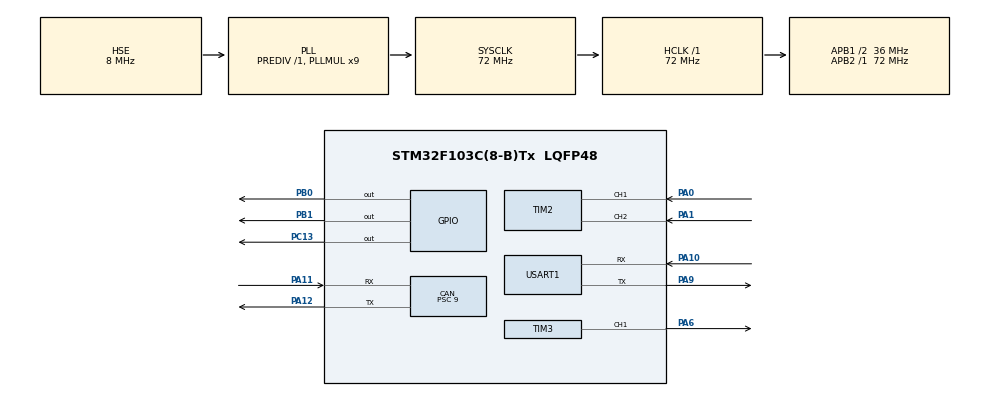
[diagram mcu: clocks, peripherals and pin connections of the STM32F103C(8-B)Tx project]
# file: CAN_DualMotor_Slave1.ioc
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CAN.ABOM=ENABLE
CAN.BS1=CAN_BS1_6TQ
CAN.CalculateBaudRate=500000
CAN.CalculateTimeBit=2000
CAN.CalculateTimeQuantum=250.0
CAN.Mode=CAN_MODE_NORMAL
CAN.NART=ENABLE
CAN.Prescaler=9
Mcu.Family=STM32F1
Mcu.Name=STM32F103C(8-B)Tx
Mcu.Package=LQFP48
NVIC.PriorityGroup=NVIC_PRIORITYGROUP_4
NVIC.TIM4_IRQn=true\:0\:0\:false\:false\:true\:true\:true\:true
NVIC.USART1_IRQn=true\:2\:0\:true\:false\:true\:true\:true\:true
NVIC.USB_LP_CAN1_RX0_IRQn=true\:1\:0\:true\:false\:true\:true\:true\:true
PA0-WKUP.Signal=S_TIM2_CH1_ETR
PA1.Signal=S_TIM2_CH2
PA10.Mode=Asynchronous
PA10.Signal=USART1_RX
PA11.Mode=CAN_Activate
PA11.Signal=CAN_RX
PA12.Mode=CAN_Activate
PA12.Signal=CAN_TX
PA13.Mode=Serial_Wire
PA13.Signal=SYS_JTMS-SWDIO
PA14.Mode=Serial_Wire
PA14.Signal=SYS_JTCK-SWCLK
PA6.Signal=S_TIM3_CH1
PA9.Mode=Asynchronous
PA9.Signal=USART1_TX
PB0.Signal=GPIO_Output
PB1.Signal=GPIO_Output
PC13-TAMPER-RTC.Signal=GPIO_Output
PD0-OSC_IN.Mode=HSE-External-Oscillator
PD0-OSC_IN.Signal=RCC_OSC_IN
PD1-OSC_OUT.Mode=HSE-External-Oscillator
PD1-OSC_OUT.Signal=RCC_OSC_OUT
ProjectManager.HeapSize=0x200
ProjectManager.StackSize=0x400
ProjectManager.TargetToolchain=MDK-ARM V5.32
RCC.AHBFreq_Value=72000000
RCC.APB1CLKDivider=RCC_HCLK_DIV2
RCC.APB1Freq_Value=36000000
RCC.APB1TimFreq_Value=72000000
RCC.APB2Freq_Value=72000000
RCC.APB2TimFreq_Value=72000000
RCC.HCLKFreq_Value=72000000
RCC.PLLMUL=RCC_PLL_MUL9
RCC.PLLSourceVirtual=RCC_PLLSOURCE_HSE
RCC.SYSCLKFreq_VALUE=72000000
RCC.SYSCLKSource=RCC_SYSCLKSOURCE_PLLCLK
RCC.USBFreq_Value=72000000
SH.S_TIM2_CH1_ETR.0=TIM2_CH1,Encoder_Interface
SH.S_TIM2_CH2.0=TIM2_CH2,Encoder_Interface
SH.S_TIM3_CH1.0=TIM3_CH1,PWM Generation1 CH1
TIM2.EncoderMode=TIM_ENCODERMODE_TI12
TIM2.IC1Filter=6
TIM2.IC2Filter=6
TIM3.Channel-PWM\ Generation1\ CH1=TIM_CHANNEL_1
TIM3.Period=3599
TIM4.Period=99
TIM4.Prescaler=7199
USART1.VirtualMode=VM_ASYNC
VP_TIM4_VS_ClockSourceINT.Mode=Internal
board=custom

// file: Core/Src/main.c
/* USER CODE BEGIN Header */
/**
  ******************************************************************************
  * @file           : main.c
  * @brief          : Main program body
  ******************************************************************************
  * @attention
  *
  * Copyright (c) 2026 STMicroelectronics.
  * All rights reserved.
  *
  * This software is licensed under terms that can be found in the LICENSE file
  * in the root directory of this software component.
  * If no LICENSE file comes with this software, it is provided AS-IS.
  *
  ******************************************************************************
  */
/* USER CODE END Header */
#include "main.h"
#include "can.h"
#include "tim.h"
#include "usart.h"
#include "gpio.h"

/* USER CODE BEGIN Includes */
#include "Bsp_Can.h"
#include "can_protocol.h"
#include "App.h"
#include "Encoder.h"
#include "motor_control.h"
/* USER CODE END Includes */

/* USER CODE BEGIN PV */
App_SlaveRuntime_t debug_runtime;

volatile uint8_t debug_tx_ok = 0;
volatile uint32_t debug_can_error = 0;
/* USER CODE END PV */

void SystemClock_Config(void);

int main(void)
{

  /* MCU Configuration--------------------------------------------------------*/

  /* Reset of all peripherals, Initializes the Flash interface and the Systick. */
  HAL_Init();

  /* Configure the system clock */
  SystemClock_Config();

  /* Initialize all configured peripherals */
  MX_GPIO_Init();
  MX_CAN_Init();
  MX_TIM2_Init();
  MX_TIM3_Init();
  MX_TIM4_Init();
  MX_USART1_UART_Init();
  /* USER CODE BEGIN 2 */
	Can_Init();

	App_Init();
//	HAL_TIM_Base_Start_IT(&htim4);
  /* USER CODE END 2 */

  /* Infinite loop */
  while (1)
  {

    /* USER CODE BEGIN 3 */
		 App_Task();
		App_GetRuntime(&debug_runtime);
//	uint8_t test_data = 0x01;

//    debug_tx_ok = Can_Send(0x301, &test_data, 1);
//    debug_can_error = HAL_CAN_GetError(&hcan);

//    HAL_Delay(500);
	}
  /* USER CODE END 3 */
}

void SystemClock_Config(void)
{
  RCC_OscInitTypeDef RCC_OscInitStruct = {0};
  RCC_ClkInitTypeDef RCC_ClkInitStruct = {0};

  /** Initializes the RCC Oscillators according to the specified parameters
  * in the RCC_OscInitTypeDef structure.
  */
  RCC_OscInitStruct.OscillatorType = RCC_OSCILLATORTYPE_HSE;
  RCC_OscInitStruct.HSEState = RCC_HSE_ON;
  RCC_OscInitStruct.HSEPredivValue = RCC_HSE_PREDIV_DIV1;
  RCC_OscInitStruct.HSIState = RCC_HSI_ON;
  RCC_OscInitStruct.PLL.PLLState = RCC_PLL_ON;
  RCC_OscInitStruct.PLL.PLLSource = RCC_PLLSOURCE_HSE;
  RCC_OscInitStruct.PLL.PLLMUL = RCC_PLL_MUL9;
  if (HAL_RCC_OscConfig(&RCC_OscInitStruct) != HAL_OK)
  {
    Error_Handler();
  }

  /** Initializes the CPU, AHB and APB buses clocks
  */
  RCC_ClkInitStruct.ClockType = RCC_CLOCKTYPE_HCLK|RCC_CLOCKTYPE_SYSCLK
                              |RCC_CLOCKTYPE_PCLK1|RCC_CLOCKTYPE_PCLK2;
  RCC_ClkInitStruct.SYSCLKSource = RCC_SYSCLKSOURCE_PLLCLK;
  RCC_ClkInitStruct.AHBCLKDivider = RCC_SYSCLK_DIV1;
  RCC_ClkInitStruct.APB1CLKDivider = RCC_HCLK_DIV2;
  RCC_ClkInitStruct.APB2CLKDivider = RCC_HCLK_DIV1;

  if (HAL_RCC_ClockConfig(&RCC_ClkInitStruct, FLASH_LATENCY_2) != HAL_OK)
  {
    Error_Handler();
  }
}

/* USER CODE BEGIN 4 */
void HAL_TIM_PeriodElapsedCallback(
    TIM_HandleTypeDef *htim)
{
    if (htim->Instance == TIM4)
    {
        MotorControl_Update();
    }
}
/* USER CODE END 4 */

void Error_Handler(void)
{
  __disable_irq();
  while (1)
  {
  }
}
